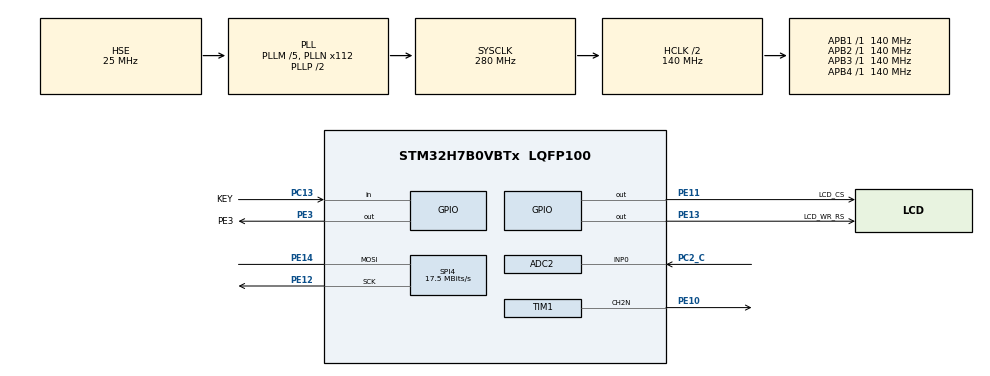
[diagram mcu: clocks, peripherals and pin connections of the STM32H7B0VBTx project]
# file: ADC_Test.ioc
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ADC2.Channel-0\#ChannelRegularConversion=ADC_CHANNEL_0
ADC2.Channel-1\#ChannelRegularConversion=ADC_CHANNEL_VREFINT
ADC2.Channel-2\#ChannelRegularConversion=ADC_CHANNEL_TEMPSENSOR
ADC2.Channel-3\#ChannelRegularConversion=ADC_CHANNEL_VBAT
ADC2.DiscontinuousConvMode=ENABLE
ADC2.NbrOfConversion=4
ADC2.NbrOfConversionFlag=1
ADC2.OffsetNumber-0\#ChannelRegularConversion=ADC_OFFSET_NONE
ADC2.OffsetNumber-1\#ChannelRegularConversion=ADC_OFFSET_NONE
ADC2.OffsetNumber-2\#ChannelRegularConversion=ADC_OFFSET_NONE
ADC2.OffsetNumber-3\#ChannelRegularConversion=ADC_OFFSET_NONE
ADC2.OffsetSignedSaturation-0\#ChannelRegularConversion=DISABLE
ADC2.OffsetSignedSaturation-1\#ChannelRegularConversion=DISABLE
ADC2.OffsetSignedSaturation-2\#ChannelRegularConversion=DISABLE
ADC2.OffsetSignedSaturation-3\#ChannelRegularConversion=DISABLE
ADC2.Rank-0\#ChannelRegularConversion=1
ADC2.Rank-1\#ChannelRegularConversion=2
ADC2.Rank-2\#ChannelRegularConversion=3
ADC2.Rank-3\#ChannelRegularConversion=4
ADC2.SamplingTime-0\#ChannelRegularConversion=ADC_SAMPLETIME_387CYCLES_5
ADC2.SamplingTime-1\#ChannelRegularConversion=ADC_SAMPLETIME_387CYCLES_5
ADC2.SamplingTime-2\#ChannelRegularConversion=ADC_SAMPLETIME_387CYCLES_5
ADC2.SamplingTime-3\#ChannelRegularConversion=ADC_SAMPLETIME_387CYCLES_5
CORTEX_M7.default_mode_Activation=1
Mcu.Family=STM32H7
Mcu.Name=STM32H7B0VBTx
Mcu.Package=LQFP100
NVIC.PriorityGroup=NVIC_PRIORITYGROUP_4
PA13.Mode=Serial_Wire
PA13.Signal=DEBUG_JTMS-SWDIO
PA14.Mode=Serial_Wire
PA14.Signal=DEBUG_JTCK-SWCLK
PC13.GPIO_Label=KEY
PC13.GPIO_PuPd=GPIO_PULLDOWN
PC13.Signal=GPIO_Input
PC14-OSC32_IN.Mode=LSE-External-Oscillator
PC14-OSC32_IN.Signal=RCC_OSC32_IN
PC15-OSC32_OUT.Mode=LSE-External-Oscillator
PC15-OSC32_OUT.Signal=RCC_OSC32_OUT
PC2_C.Mode=IN0-Single-Ended
PC2_C.Signal=ADC2_INP0
PE10.Mode=PWM Generation2 CH2N
PE10.Signal=TIM1_CH2N
PE11.GPIO_Label=LCD_CS
PE11.PinState=GPIO_PIN_SET
PE11.Signal=GPIO_Output
PE12.Mode=Simplex_Bidirectional_Master
PE12.Signal=SPI4_SCK
PE13.GPIO_Label=LCD_WR_RS
PE13.PinState=GPIO_PIN_SET
PE13.Signal=GPIO_Output
PE14.Mode=Simplex_Bidirectional_Master
PE14.Signal=SPI4_MOSI
PE3.GPIO_Label=PE3
PE3.PinState=GPIO_PIN_RESET
PE3.Signal=GPIO_Output
PH0-OSC_IN.Mode=HSE-External-Oscillator
PH0-OSC_IN.Signal=RCC_OSC_IN
PH1-OSC_OUT.Mode=HSE-External-Oscillator
PH1-OSC_OUT.Signal=RCC_OSC_OUT
ProjectManager.HeapSize=0x200
ProjectManager.StackSize=0x400
ProjectManager.TargetToolchain=MDK-ARM V5.32
RCC.ADCFreq_Value=75000000
RCC.APB1Freq_Value=140000000
RCC.APB2Freq_Value=140000000
RCC.APB3Freq_Value=140000000
RCC.APB4Freq_Value=140000000
RCC.CortexFreq_Value=280000000
RCC.DIVM1=5
RCC.DIVM2=2
RCC.DIVN1=112
RCC.DIVN2=12
RCC.HCLKFreq_Value=140000000
RCC.HPRE=RCC_HCLK_DIV2
RCC.HSE_VALUE=25000000
RCC.PLLSourceVirtual=RCC_PLLSOURCE_HSE
RCC.RTCClockSelection=RCC_RTCCLKSOURCE_LSE
RCC.SYSCLKFreq_VALUE=280000000
RCC.SYSCLKSource=RCC_SYSCLKSOURCE_PLLCLK
RCC.USBFreq_Value=280000000
RTC.Hours=12
RTC.Month=RTC_MONTH_JUNE
RTC.WeekDay=RTC_WEEKDAY_WEDNESDAY
RTC.Year=22
SPI4.BaudRatePrescaler=SPI_BAUDRATEPRESCALER_8
SPI4.CalculateBaudRate=17.5 MBits/s
SPI4.DataSize=SPI_DATASIZE_8BIT
SPI4.Direction=SPI_DIRECTION_1LINE
SPI4.Mode=SPI_MODE_MASTER
SPI4.VirtualType=VM_MASTER
TIM1.Channel-PWM\ Generation2\ CH2N=TIM_CHANNEL_2
TIM1.OCNPolarity_2=TIM_OCNPOLARITY_LOW
TIM1.Period=1000-1
TIM1.Prescaler=14-1
VP_ADC2_TempSens_Input.Mode=IN-TempSens
VP_ADC2_Vbat_Input.Mode=IN-Vbat
VP_ADC2_Vref_Input.Mode=IN-Vrefint
VP_RTC_VS_RTC_Activate.Mode=RTC_Enabled
VP_RTC_VS_RTC_Calendar.Mode=RTC_Calendar
board=custom

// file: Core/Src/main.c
/* USER CODE BEGIN Header */

/*---------------------------------------
- WeAct Studio Official Link
- taobao: weactstudio.taobao.com
- aliexpress: weactstudio.aliexpress.com
- github: github.com/WeActStudio
- gitee: gitee.com/WeActStudio
- blog: blog.weactstudio.com
---------------------------------------*/

/**
 ******************************************************************************
 * @file           : main.c
 * @brief          : Main program body
 ******************************************************************************
 * @attention
 *
 * Copyright (c) 2022 STMicroelectronics.
 * All rights reserved.
 *
 * This software is licensed under terms that can be found in the LICENSE file
 * in the root directory of this software component.
 * If no LICENSE file comes with this software, it is provided AS-IS.
 *
 ******************************************************************************
 */
/* USER CODE END Header */
#include "main.h"
#include "adc.h"
#include "rtc.h"
#include "spi.h"
#include "tim.h"
#include "gpio.h"

/* USER CODE BEGIN Includes */
#include "lcd.h"
/* USER CODE END Includes */

/* USER CODE BEGIN PV */
__IO uint16_t uhADCxConvertedValue[4];
__IO uint32_t uhADCxInputVoltage[4];
uint32_t adc3_inp0,vbat,tempsensor,vrefint;
/* USER CODE END PV */

void SystemClock_Config(void);
static void MPU_Config(void);

/* USER CODE BEGIN 0 */
static void CPU_CACHE_Enable(void)
{
  /* Enable I-Cache */
  SCB_EnableICache();

  /* Enable D-Cache */
  SCB_EnableDCache();
}

static void LED_Blink(uint32_t Hdelay, uint32_t Ldelay)
{
  HAL_GPIO_WritePin(PE3_GPIO_Port, PE3_Pin, GPIO_PIN_SET);
  HAL_Delay(Hdelay - 1);
  HAL_GPIO_WritePin(PE3_GPIO_Port, PE3_Pin, GPIO_PIN_RESET);
  HAL_Delay(Ldelay - 1);
}
/* USER CODE END 0 */

int main(void)
{
  /* USER CODE BEGIN 1 */
  CPU_CACHE_Enable();
  /* USER CODE END 1 */

  /* MPU Configuration--------------------------------------------------------*/
  MPU_Config();

  /* MCU Configuration--------------------------------------------------------*/

  /* Reset of all peripherals, Initializes the Flash interface and the Systick. */
  HAL_Init();

  /* Configure the system clock */
  SystemClock_Config();

  /* Initialize all configured peripherals */
  MX_GPIO_Init();
  MX_RTC_Init();
  MX_SPI4_Init();
  MX_TIM1_Init();
  MX_ADC2_Init();
  /* USER CODE BEGIN 2 */
  LCD_Test();
  uint8_t text[26];

  if (HAL_ADCEx_Calibration_Start(&hadc2, ADC_CALIB_OFFSET, ADC_SINGLE_ENDED) != HAL_OK)
  {
    /* Calibration Error */
    Error_Handler();
  }

  /* USER CODE END 2 */

  /* Infinite loop */
  while (1)
  {

    /* USER CODE BEGIN 3 */
    for(uint32_t i = 0;i<(sizeof(uhADCxConvertedValue)/sizeof(uint16_t));i++)
		{
			/*##-1- Start the conversion process #######################################*/
			if (HAL_ADC_Start(&hadc2) != HAL_OK)
			{
				/* Start Conversation Error */
				Error_Handler();
			}
			/*##-2- Wait for the end of conversion #####################################*/
			/*  For simplicity reasons, this example is just waiting till the end of the
					conversion, but application may perform other tasks while conversion
					operation is ongoing. */
			if (HAL_ADC_PollForConversion(&hadc2, 100) != HAL_OK)
			{
				/* End Of Conversion flag not set on time */
				Error_Handler();
			}
			else
			{
				/* ADC conversion completed */
				/*##-3- Get the converted value of regular channel  ########################*/
				uhADCxConvertedValue[i] = HAL_ADC_GetValue(&hadc2);

				/* Convert the result from 16 bit value to the voltage dimension (mV unit) */
				/* Vref = 3.3 V */
				uhADCxInputVoltage[i] = ((uhADCxConvertedValue[i] * 3300) / 0xFFFF);
			}
		}
		HAL_ADC_Stop(&hadc2);

		#define V30  (620)  // mV, V30: 0.62V,datasheet P278
		#define Avg_Slope (2) // mV/C

		adc3_inp0  = uhADCxInputVoltage[0]; // mv
		vrefint    = uhADCxInputVoltage[1]; // type. 1200mV
		tempsensor = ((int32_t)uhADCxInputVoltage[2] - V30)/Avg_Slope + 30; // ??C
		vbat       = uhADCxInputVoltage[3] * 4;

		#ifdef TFT96
		sprintf((char *)&text, " PC2: %4dmV Vref: %4dmV", adc3_inp0, vrefint);
		LCD_ShowString(0, 46, ST7735Ctx.Width, 16, 12, text);
		sprintf((char *)&text, "temp: %3d 'C vbat: %4dmV", tempsensor, vbat);
		LCD_ShowString(0, 62, ST7735Ctx.Width,16,12,text);
		#elif TFT18
		sprintf((char *)&text, " PC2: %4dmV", adc3_inp0);
		LCD_ShowString(0, 46, ST7735Ctx.Width, 16, 12, text);
		sprintf((char *)&text, " Vref: %4dmV", vrefint);
		LCD_ShowString(0, 62, ST7735Ctx.Width, 16, 12, text);
		sprintf((char *)&text, " temp: %3d 'C", tempsensor);
		LCD_ShowString(0, 78, ST7735Ctx.Width, 16, 12, text);
		sprintf((char *)&text, " vbat: %4dmV", vbat);
		LCD_ShowString(0, 94, ST7735Ctx.Width, 16, 12, text);
		#endif

		LED_Blink(3,500);
  }
  /* USER CODE END 3 */
}

void SystemClock_Config(void)
{
  RCC_OscInitTypeDef RCC_OscInitStruct = {0};
  RCC_ClkInitTypeDef RCC_ClkInitStruct = {0};

  /** Supply configuration update enable
  */
  HAL_PWREx_ConfigSupply(PWR_LDO_SUPPLY);

  /** Configure the main internal regulator output voltage
  */
  __HAL_PWR_VOLTAGESCALING_CONFIG(PWR_REGULATOR_VOLTAGE_SCALE0);

  while(!__HAL_PWR_GET_FLAG(PWR_FLAG_VOSRDY)) {}

  /** Configure LSE Drive Capability
  */
  HAL_PWR_EnableBkUpAccess();
  __HAL_RCC_LSEDRIVE_CONFIG(RCC_LSEDRIVE_LOW);

  /** Macro to configure the PLL clock source
  */
  __HAL_RCC_PLL_PLLSOURCE_CONFIG(RCC_PLLSOURCE_HSE);

  /** Initializes the RCC Oscillators according to the specified parameters
  * in the RCC_OscInitTypeDef structure.
  */
  RCC_OscInitStruct.OscillatorType = RCC_OSCILLATORTYPE_HSE|RCC_OSCILLATORTYPE_LSE;
  RCC_OscInitStruct.HSEState = RCC_HSE_ON;
  RCC_OscInitStruct.LSEState = RCC_LSE_ON;
  RCC_OscInitStruct.PLL.PLLState = RCC_PLL_ON;
  RCC_OscInitStruct.PLL.PLLSource = RCC_PLLSOURCE_HSE;
  RCC_OscInitStruct.PLL.PLLM = 5;
  RCC_OscInitStruct.PLL.PLLN = 112;
  RCC_OscInitStruct.PLL.PLLP = 2;
  RCC_OscInitStruct.PLL.PLLQ = 2;
  RCC_OscInitStruct.PLL.PLLR = 2;
  RCC_OscInitStruct.PLL.PLLRGE = RCC_PLL1VCIRANGE_2;
  RCC_OscInitStruct.PLL.PLLVCOSEL = RCC_PLL1VCOWIDE;
  RCC_OscInitStruct.PLL.PLLFRACN = 0;
  if (HAL_RCC_OscConfig(&RCC_OscInitStruct) != HAL_OK)
  {
    Error_Handler();
  }

  /** Initializes the CPU, AHB and APB buses clocks
  */
  RCC_ClkInitStruct.ClockType = RCC_CLOCKTYPE_HCLK|RCC_CLOCKTYPE_SYSCLK
                              |RCC_CLOCKTYPE_PCLK1|RCC_CLOCKTYPE_PCLK2
                              |RCC_CLOCKTYPE_D3PCLK1|RCC_CLOCKTYPE_D1PCLK1;
  RCC_ClkInitStruct.SYSCLKSource = RCC_SYSCLKSOURCE_PLLCLK;
  RCC_ClkInitStruct.SYSCLKDivider = RCC_SYSCLK_DIV1;
  RCC_ClkInitStruct.AHBCLKDivider = RCC_HCLK_DIV2;
  RCC_ClkInitStruct.APB3CLKDivider = RCC_APB3_DIV1;
  RCC_ClkInitStruct.APB1CLKDivider = RCC_APB1_DIV1;
  RCC_ClkInitStruct.APB2CLKDivider = RCC_APB2_DIV1;
  RCC_ClkInitStruct.APB4CLKDivider = RCC_APB4_DIV1;

  if (HAL_RCC_ClockConfig(&RCC_ClkInitStruct, FLASH_LATENCY_3) != HAL_OK)
  {
    Error_Handler();
  }
}

/* MPU Configuration */

void MPU_Config(void)
{
  MPU_Region_InitTypeDef MPU_InitStruct = {0};

  /* Disables the MPU */
  HAL_MPU_Disable();

  /** Initializes and configures the Region and the memory to be protected
  */
  MPU_InitStruct.Enable = MPU_REGION_ENABLE;
  MPU_InitStruct.Number = MPU_REGION_NUMBER0;
  MPU_InitStruct.BaseAddress = 0x0;
  MPU_InitStruct.Size = MPU_REGION_SIZE_4GB;
  MPU_InitStruct.SubRegionDisable = 0x87;
  MPU_InitStruct.TypeExtField = MPU_TEX_LEVEL0;
  MPU_InitStruct.AccessPermission = MPU_REGION_NO_ACCESS;
  MPU_InitStruct.DisableExec = MPU_INSTRUCTION_ACCESS_DISABLE;
  MPU_InitStruct.IsShareable = MPU_ACCESS_SHAREABLE;
  MPU_InitStruct.IsCacheable = MPU_ACCESS_NOT_CACHEABLE;
  MPU_InitStruct.IsBufferable = MPU_ACCESS_NOT_BUFFERABLE;

  HAL_MPU_ConfigRegion(&MPU_InitStruct);
  /* Enables the MPU */
  HAL_MPU_Enable(MPU_PRIVILEGED_DEFAULT);

}

void Error_Handler(void)
{
  __disable_irq();
  while (1)
  {
  }
}
